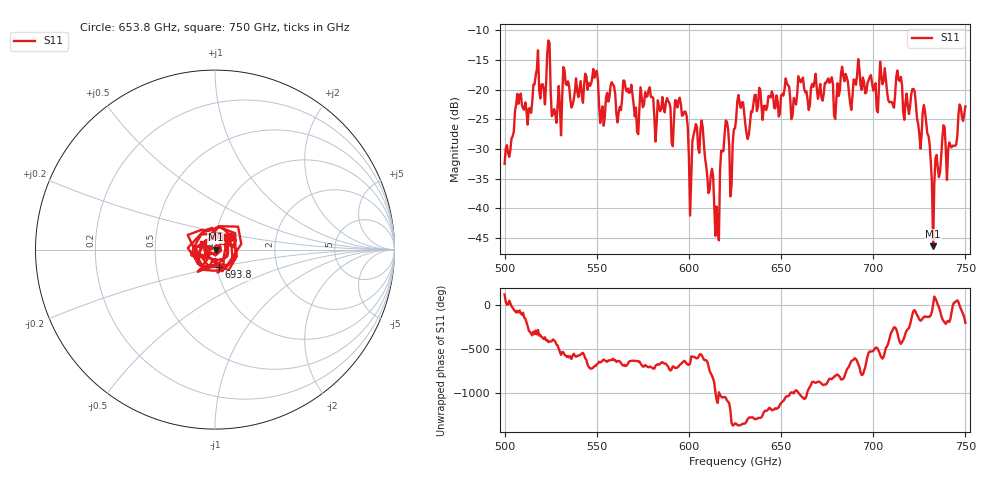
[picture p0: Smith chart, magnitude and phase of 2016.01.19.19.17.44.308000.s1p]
!Created with skrf (http://scikit-rf.org).
# GHz S RI R 50.0
!freq ReS11 ImS11
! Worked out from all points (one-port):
!   401 points, 500 GHz to 750 GHz, reference 50 ohm
!   lowest |S11| = -46.4 dB at 732.5 GHz (marker M1), VSWR 1.01, Z = 50.5 + j0.0145 ohm
!   |S11| at or under -10 dB: start of sweep to end of sweep
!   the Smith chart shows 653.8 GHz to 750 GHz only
!   S11 on the Smith chart (normalised r, x): 653.8 GHz: 1.16, +0.17; 693.8 GHz: 1.02, -0.20; 750 GHz: 0.88, +0.05
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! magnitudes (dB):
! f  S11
! 500 GHz  -32.5
! 516.9 GHz  -17.6
! 520.6 GHz  -19.1
! 523.8 GHz  -11.7
! 526.9 GHz  -23.3
! 531.2 GHz  -21.3
! 549.4 GHz  -17.2
! 553.1 GHz  -22.8
! 558.8 GHz  -19.1
! 562.5 GHz  -22.9
! 565.6 GHz  -19.7
! 593.8 GHz  -23.0
! 601.2 GHz  -34.8
! 603.1 GHz  -26.9
! 607.5 GHz  -26.4
! 615 GHz  -39.7
! 618.8 GHz  -30.3
! 623.1 GHz  -36.1
! 625 GHz  -26.5
! 653.8 GHz  -19.3
! 656.2 GHz  -24.3
! 660.6 GHz  -18.7
! 687.5 GHz  -22.3
! 693.8 GHz  -20.0
! 718.8 GHz  -22.7
! 728.1 GHz  -23.8
! 732.5 GHz  -46.4
! 750 GHz  -22.8
